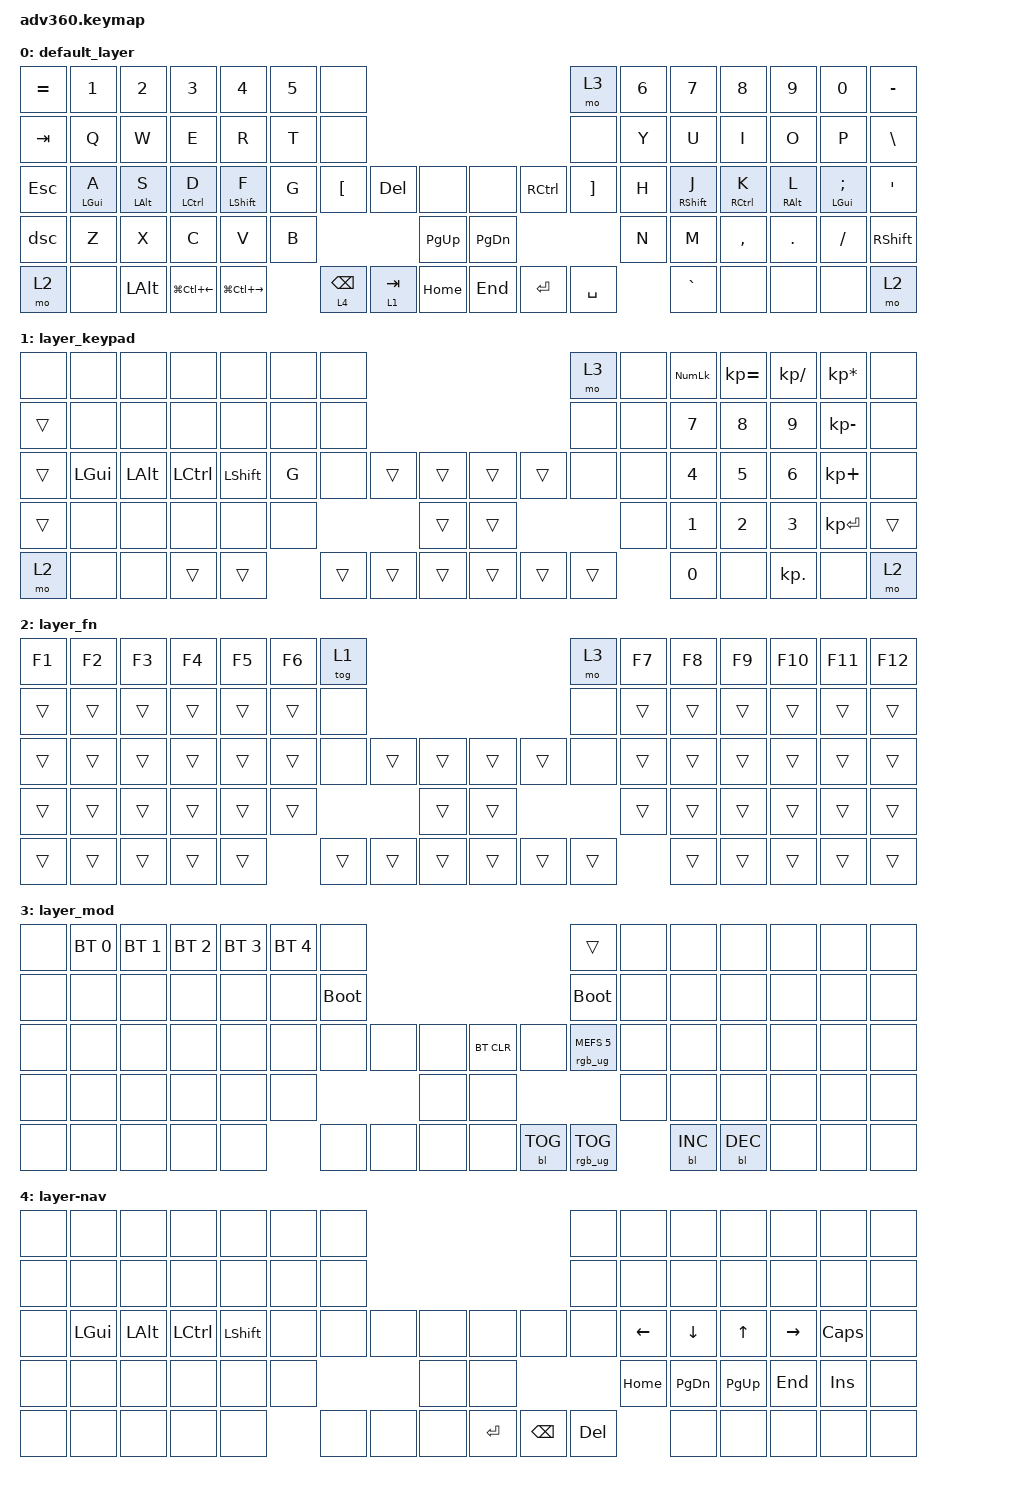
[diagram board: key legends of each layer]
/*
 * Copyright (c) 2020 The ZMK Contributors
 *
 * SPDX-License-Identifier: MIT
 */

#include <behaviors.dtsi>
#include <dt-bindings/zmk/backlight.h>
#include <dt-bindings/zmk/bt.h>
#include <dt-bindings/zmk/keys.h>
#include <dt-bindings/zmk/rgb.h>

#include "keypos_adv360.h"

/ {
    behaviors {
        #include "macros.dtsi"
        #include "version.dtsi"

        hm: homerow-mods {
            compatible = "zmk,behavior-hold-tap";
            label = "Homerow Mods";
            #binding-cells = <2>;
            tapping-term-ms = <200>;
            flavor = "tap-preferred";
            bindings = <&kp>, <&kp>;
            quick-tap-ms = <200>;
            require-prior-idle-ms = <125>;
        };

        hml: homerow-mods-left {
            compatible = "zmk,behavior-hold-tap";
            label = "Homerow Mods Left";
            #binding-cells = <2>;
            flavor = "balanced";
            tapping-term-ms = <280>;
            quick-tap-ms = <175>;                // repeat on tap-into-hold
            require-prior-idle-ms = <150>;
            bindings = <&kp>, <&kp>;
            hold-trigger-key-positions = <POS_LH_ALPHA>;
            hold-trigger-on-release;             // delay positional check until key-release
        };
        
        hmr: homerow-mods-right {
            compatible = "zmk,behavior-hold-tap";
            label = "Homerow Mods Right";
            #binding-cells = <2>;
            flavor = "balanced";
            tapping-term-ms = <280>;
            quick-tap-ms = <175>;                // repeat on tap-into-hold
            require-prior-idle-ms = <150>;
            bindings = <&kp>, <&kp>;
            hold-trigger-key-positions = <POS_RH_ALPHA>;
            hold-trigger-on-release;             // delay positional check until key-release
        };
        
        tm: thumbrow-mod {
            compatible = "zmk,behavior-hold-tap";
            label = "Thumbrow Mods";
            bindings = <&mo>, <&kp>;

            #binding-cells = <2>;
            tapping-term-ms = <200>;
            quick-tap-ms = <200>;
            require-prior-idle-ms = <125>;
            flavor = "tap-preferred";
        };

        dsc: dance-shift-caps {
            compatible = "zmk,behavior-tap-dance";
            label = "Dance Shift Caps";
            #binding-cells = <0>;
            bindings = <&kp LEFT_SHIFT>, <&caps_word>;
        };
    };

    combos {
        compatible = "zmk,combos";

        combo-we-q {
            bindings = <&kp Q>;
            key-positions = <16 17>;
        };

        combo-io-p {
            bindings = <&kp P>;
            key-positions = <24 25>;
        };

        combo-cv-b {
            bindings = <&kp B>;
            key-positions = <49 50>;
            layers = <0>;
        };

        combo-m,-n {
            bindings = <&kp N>;
            key-positions = <55 56>;
        };
    };

    keymap {
        compatible = "zmk,keymap";

        default_layer {
            bindings = <
&kp EQUAL  &kp N1           &kp N2           &kp N3               &kp N4              &kp N5  &none                                                       &mo 3      &kp N6  &kp N7              &kp N8                &kp N9            &kp N0              &kp MINUS
&kp TAB    &kp Q            &kp W            &kp E                &kp R               &kp T   &none                                                       &none      &kp Y   &kp U               &kp I                 &kp O             &kp P               &kp BSLH
&kp ESC    &hml LEFT_GUI A  &hml LEFT_ALT S  &hml LEFT_CONTROL D  &hml LEFT_SHIFT F   &kp G   &kp LBKT    &kp DEL    &none          &none      &kp RCTRL  &kp RBKT   &kp H   &hmr RIGHT_SHIFT J  &hmr RIGHT_CONTROL K  &hmr RIGHT_ALT L  &hmr LEFT_GUI SEMI  &kp SQT
&dsc       &kp Z            &kp X            &kp C                &kp V               &kp B                          &kp PG_UP      &kp PG_DN                        &kp N   &kp M               &kp COMMA             &kp DOT           &kp FSLH            &kp RIGHT_SHIFT
&mo 2      &none            &kp LALT         &kp LG(LC(LEFT))     &kp LG(LC(RIGHT))           &tm 4 BSPC  &tm 1 TAB  &kp HOME       &kp END    &kp ENTER  &kp SPACE          &kp GRAVE           &none                 &none             &none               &mo 2
            >;
        };

        layer_keypad {
            bindings = <
&none      &none         &none     &none      &none       &none   &none                                                   &mo 3      &none  &kp KP_NUM  &kp KP_EQUAL  &kp KP_DIVIDE  &kp KP_MULTIPLY  &none
&trans     &none         &none     &none      &none       &none   &none                                                   &none      &none  &kp N7      &kp N8        &kp N9         &kp KP_MINUS     &none
&trans     &kp LEFT_GUI  &kp LALT  &kp LCTRL  &kp LSHIFT  &kp G   &none     &trans    &trans          &trans    &trans    &none      &none  &kp N4      &kp N5        &kp N6         &kp KP_PLUS      &none
&trans     &none         &none     &none      &none       &none                       &trans          &trans                         &none  &kp N1      &kp N2        &kp N3         &kp KP_ENTER     &trans
&mo 2      &none         &none     &trans     &trans              &trans    &trans    &trans          &trans    &trans    &trans            &kp N0      &none         &kp KP_DOT     &none            &mo 2
            >;
        };

        layer_fn {
            bindings = <
&kp F1  &kp F2  &kp F3  &kp F4  &kp F5  &kp F6  &tog 1                                      &mo 3   &kp F7  &kp F8  &kp F9  &kp F10  &kp F11  &kp F12
&trans  &trans  &trans  &trans  &trans  &trans  &none                                       &none   &trans  &trans  &trans  &trans   &trans   &trans
&trans  &trans  &trans  &trans  &trans  &trans  &none   &trans  &trans      &trans  &trans  &none   &trans  &trans  &trans  &trans   &trans   &trans
&trans  &trans  &trans  &trans  &trans  &trans                  &trans      &trans                  &trans  &trans  &trans  &trans   &trans   &trans
&trans  &trans  &trans  &trans  &trans          &trans  &trans  &trans      &trans  &trans  &trans          &trans  &trans  &trans   &trans   &trans
            >;
        };

        layer_mod {
            bindings = <
&none  &bt BT_SEL 0  &bt BT_SEL 1  &bt BT_SEL 2  &bt BT_SEL 3  &bt BT_SEL 4  &none                                                  &trans                  &none  &none       &none       &none  &none  &none
&none  &none         &none         &none         &none         &none         &bootloader                                            &bootloader             &none  &none       &none       &none  &none  &none
&none  &none         &none         &none         &none         &none         &none        &none  &none      &bt BT_CLR  &none       &rgb_ug RGB_MEFS_CMD 5  &none  &none       &none       &none  &none  &none
&none  &none         &none         &none         &none         &none                             &none      &none                                           &none  &none       &none       &none  &none  &none
&none  &none         &none         &none         &none                       &none        &none  &none      &none       &bl BL_TOG  &rgb_ug RGB_TOG                &bl BL_INC  &bl BL_DEC  &none  &none  &none
            >;
        };

        layer-nav {
            bindings = <
&none  &none         &none         &none             &none           &none  &none                                         &none    &none     &none          &none        &none      &none     &none
&none  &none         &none         &none             &none           &none  &none                                         &none    &none     &none          &none        &none      &none     &none
&none  &kp LEFT_GUI  &kp LEFT_ALT  &kp LEFT_CONTROL  &kp LEFT_SHIFT  &none  &none  &none  &none      &none      &none     &none    &kp LEFT  &kp DOWN       &kp UP       &kp RIGHT  &kp CAPS  &none
&none  &none         &none         &none             &none           &none                &none      &none                         &kp HOME  &kp PAGE_DOWN  &kp PAGE_UP  &kp END    &kp INS   &none
&none  &none         &none         &none             &none                  &none  &none  &none      &kp ENTER  &kp BSPC  &kp DEL            &none          &none        &none      &none     &none
            >;
        };
    };
};
